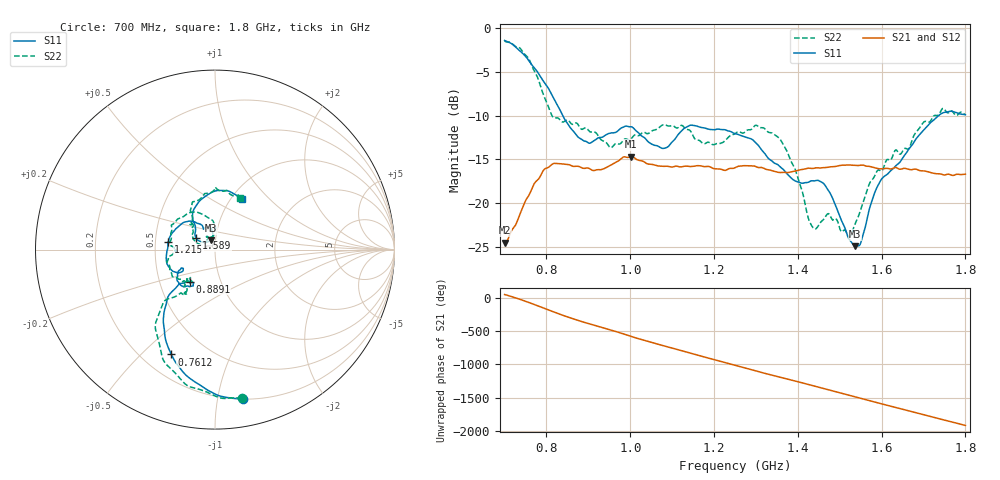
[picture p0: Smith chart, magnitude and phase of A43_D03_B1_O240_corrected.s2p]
! Created with skrf 1.9.0 (http://scikit-rf.org).
# Hz S RI R 50.0
!freq ReS11 ImS11 ReS21 ImS21 ReS12 ImS12 ReS22 ImS22
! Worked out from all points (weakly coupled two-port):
!   1601 points, 700 MHz to 1.8 GHz, reference 50 ohm
!   highest |S21| = -14.67 dB at 1.002 GHz (marker M1); lowest = -24.5 dB at 701.4 MHz (marker M2)
!   lowest |S11| = -24.9 dB at 1.536 GHz (marker M3), VSWR 1.12, Z = 47.4 + j4.9 ohm
!   |S11| at or under -10 dB: 838.9 MHz to 1.736 GHz (896.9 MHz wide, 69.7 % of centre)
!   |S22| runs from -23.8 to -1.5 dB; largest |S21 - S12| = 0.0034
!   S11 on the Smith chart (normalised r, x): 700 MHz: 0.20, -1.19; 761.2 MHz: 0.32, -0.62; 889.1 MHz: 0.71, -0.27; 1.215 GHz: 0.59, +0.05; 1.589 GHz: 0.80, +0.11; 1.8 GHz: 1.13, +0.71
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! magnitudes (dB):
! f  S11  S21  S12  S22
! 700 MHz  -1.4  -24.5  -24.3  -1.5
! 701.4 MHz  -1.5  -24.5  -24.1  -1.5
! 761.2 MHz  -4.0  -18.8  -18.7  -3.9
! 814.8 MHz  -7.8  -15.5  -15.6  -10.1
! 883.6 MHz  -12.7  -15.9  -15.8  -11.6
! 889.1 MHz  -12.9  -16.0  -15.9  -11.5
! 953 MHz  -12.0  -15.7  -15.7  -13.7
! 1.002 GHz  -11.3  -14.7  -14.8  -12.6
! 1.067 GHz  -13.5  -15.7  -15.7  -11.4
! 1.142 GHz  -11.1  -15.8  -15.8  -11.7
! 1.215 GHz  -11.6  -16.1  -16.1  -13.2
! 1.25 GHz  -12.1  -16.0  -15.9  -12.1
! 1.357 GHz  -15.8  -16.5  -16.4  -12.6
! 1.434 GHz  -17.4  -16.0  -16.0  -22.6
! 1.469 GHz  -18.3  -15.9  -15.9  -21.3
! 1.522 GHz  -24.1  -15.6  -15.6  -23.8
! 1.536 GHz  -24.9  -15.7  -15.7  -22.4
! 1.551 GHz  -24.4  -15.6  -15.7  -20.5
! 1.589 GHz  -18.2  -16.0  -16.0  -16.3
! 1.617 GHz  -16.5  -16.1  -16.0  -15.1
! 1.738 GHz  -9.9  -16.6  -16.7  -9.8
! 1.8 GHz  -9.9  -16.7  -16.7  -9.9
